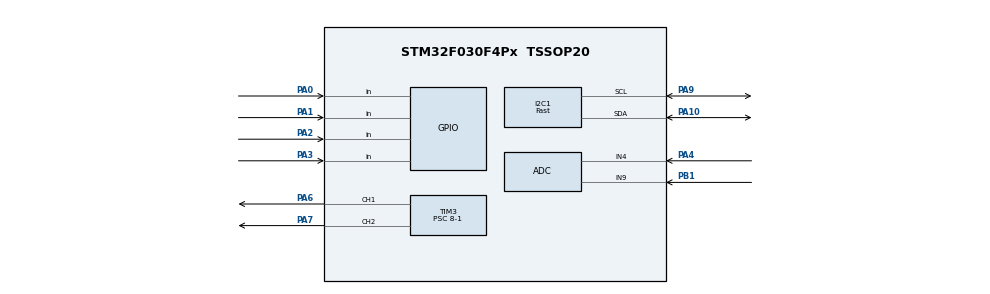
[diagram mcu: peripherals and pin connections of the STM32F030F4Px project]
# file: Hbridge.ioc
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ADC.ContinuousConvMode=ENABLE
ADC.DMAContinuousRequests=ENABLE
ADC.SamplingTime=ADC_SAMPLETIME_239CYCLES_5
Dma.ADC.0.Direction=DMA_PERIPH_TO_MEMORY
Dma.ADC.0.Instance=DMA1_Channel1
Dma.ADC.0.MemDataAlignment=DMA_MDATAALIGN_WORD
Dma.ADC.0.MemInc=DMA_MINC_ENABLE
Dma.ADC.0.Mode=DMA_CIRCULAR
Dma.ADC.0.PeriphDataAlignment=DMA_PDATAALIGN_WORD
Dma.ADC.0.PeriphInc=DMA_PINC_DISABLE
Dma.ADC.0.Priority=DMA_PRIORITY_HIGH
Dma.Request0=ADC
I2C1.I2C_Speed_Mode=I2C_Fast
I2C1.OwnAddress=0x20<<1
I2C1.Timing=0x0000020B
Mcu.Family=STM32F0
Mcu.Name=STM32F030F4Px
Mcu.Package=TSSOP20
NVIC.ADC1_IRQn=true\:1\:0\:true\:false\:true\:true\:true\:true
NVIC.DMA1_Channel1_IRQn=true\:1\:0\:true\:false\:true\:false\:true\:true
NVIC.I2C1_IRQn=true\:0\:0\:false\:false\:true\:true\:true\:true
PA0.GPIO_PuPd=GPIO_PULLUP
PA0.Signal=GPIO_Input
PA1.GPIO_PuPd=GPIO_PULLUP
PA1.Signal=GPIO_Input
PA10.Mode=I2C
PA10.Signal=I2C1_SDA
PA13.Mode=Serial_Wire
PA13.Signal=SYS_SWDIO
PA14.Mode=Serial_Wire
PA14.Signal=SYS_SWCLK
PA2.GPIO_PuPd=GPIO_PULLUP
PA2.Signal=GPIO_Input
PA3.GPIO_PuPd=GPIO_PULLUP
PA3.Signal=GPIO_Input
PA4.Mode=IN4
PA4.Signal=ADC_IN4
PA6.Signal=S_TIM3_CH1
PA7.Signal=S_TIM3_CH2
PA9.Mode=I2C
PA9.Signal=I2C1_SCL
PB1.Mode=IN9
PB1.Signal=ADC_IN9
ProjectManager.HeapSize=0x200
ProjectManager.StackSize=0x400
ProjectManager.TargetToolchain=MDK-ARM V5
SH.S_TIM3_CH1.0=TIM3_CH1,PWM Generation1 CH1
SH.S_TIM3_CH2.0=TIM3_CH2,PWM Generation2 CH2
TIM3.AutoReloadPreload=TIM_AUTORELOAD_PRELOAD_ENABLE
TIM3.Channel-PWM\ Generation1\ CH1=TIM_CHANNEL_1
TIM3.Channel-PWM\ Generation2\ CH2=TIM_CHANNEL_2
TIM3.Period=1000
TIM3.Prescaler=8-1
board=custom

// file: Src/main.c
/* USER CODE BEGIN Header */
/**
  ******************************************************************************
  * @file           : main.c
  * @brief          : Main program body
  ******************************************************************************
  * @attention
  *
  * Copyright (c) 2023 STMicroelectronics.
  * All rights reserved.
  *
  * This software is licensed under terms that can be found in the LICENSE file
  * in the root directory of this software component.
  * If no LICENSE file comes with this software, it is provided AS-IS.
  *
  ******************************************************************************
  */
/* USER CODE END Header */
#include "main.h"

/* USER CODE BEGIN Includes */
#include "i2c_ex.h"
/* USER CODE END Includes */

/* USER CODE BEGIN PD */
#define ADC_CHANNEL_NUMS                2
#define ADC_SAMPLES_NUMS                ADC_CHANNEL_NUMS * 20

#define I2C1_ADDR_BASE 0x20
#define FIRMWARE_VERSION 2

enum {DIR_STOP = 0, DIR_FORWARD, DIR_REWERSE};
enum {SPEED_TYPE_8BIT = 0, SPEED_TYPE_16BIT};
/* USER CODE END PD */

ADC_HandleTypeDef hadc;
DMA_HandleTypeDef hdma_adc;

TIM_HandleTypeDef htim3;

/* USER CODE BEGIN PV */
volatile uint8_t direction = DIR_STOP;
volatile uint8_t speed_type_flag = SPEED_TYPE_8BIT;
volatile uint8_t speed_8bits = 0;
volatile uint16_t speed_16bits = 0;
volatile uint16_t pwm_freq = 1000;

volatile uint8_t g_i2c_addr = 0;
volatile uint8_t g_i2c_addr_last = 0;
volatile uint8_t g_i2c_addr_filter = 0;

float i_in_value = 0.0;

__IO uint32_t uiAdcValueBuf[ADC_SAMPLES_NUMS];
__IO uint16_t usAdcValue16[ADC_CHANNEL_NUMS];
__IO uint8_t usAdcValue8[ADC_CHANNEL_NUMS];

volatile uint8_t fm_version = FIRMWARE_VERSION;

#define APPLICATION_ADDRESS     ((uint32_t)0x08001000)
volatile uint8_t flag_jump_bootloader = 0;
volatile uint32_t jump_bootloader_timeout = 0;
/* USER CODE END PV */

void SystemClock_Config(void);
static void MX_GPIO_Init(void);
static void MX_DMA_Init(void);
static void MX_I2C1_Init(void);
static void MX_ADC_Init(void);
static void MX_TIM3_Init(void);

/* USER CODE BEGIN 0 */
void IAP_Set()
{
	uint8_t i;

	uint32_t *pVecTab=(uint32_t *)(0x20000000);
	//????????SRAM???
	for(i = 0; i < 48; i++)
	{
		*(pVecTab++) = *(__IO uint32_t*)(APPLICATION_ADDRESS + (i<<2));
	}
  /* Enable the SYSCFG peripheral clock*/
#if 1 //STM32
  __HAL_RCC_SYSCFG_CLK_ENABLE();
  //??? SRAM ??? 0x00000000
  __HAL_SYSCFG_REMAPMEMORY_SRAM();
#else //AMP32
    RCM_EnableAPB2PeriphClock(RCM_APB2_PERIPH_SYSCFG);
    /* Remap SRAM at 0x00000000 */
    SYSCFG->CFG1_B.MMSEL = SYSCFG_MemoryRemap_SRAM;
#endif
}

void i2c_port_set_to_input(void)
{
  GPIO_InitTypeDef GPIO_InitStruct = {0};

  /* GPIO Ports Clock Enable */
  __HAL_RCC_GPIOA_CLK_ENABLE();

  /*Configure GPIO pin Output Level */
  HAL_GPIO_WritePin(GPIOA, GPIO_PIN_9 | GPIO_PIN_10, GPIO_PIN_RESET);

  /*Configure GPIO pin : LED_Pin */
  GPIO_InitStruct.Pin = (GPIO_PIN_9 | GPIO_PIN_10);
  GPIO_InitStruct.Mode = GPIO_MODE_INPUT;
  GPIO_InitStruct.Pull = GPIO_PULLUP;
  GPIO_InitStruct.Speed = GPIO_SPEED_FREQ_LOW;
  HAL_GPIO_Init(GPIOA, &GPIO_InitStruct);
}

long map(long x, long in_min, long in_max, long out_min, long out_max) {
  long result;

  result = (x - in_min) * (out_max - out_min) / (in_max - in_min) + out_min;
  if (result < out_min)
    result = out_min;
  else if (result > out_max)
    result = out_max;

  return result;
}

void set_pwm(uint8_t direction)
{
  uint32_t period;

  period = 1000000 / pwm_freq;
  if (!pwm_freq)
    __HAL_TIM_SET_AUTORELOAD(&htim3, 1000000 / 100);
  else
    __HAL_TIM_SET_AUTORELOAD(&htim3, period);
  switch (direction)
  {
  case DIR_STOP:
    __HAL_TIM_SET_COMPARE(&htim3, TIM_CHANNEL_1, 0);
    __HAL_TIM_SET_COMPARE(&htim3, TIM_CHANNEL_2, 0);
    break;
  case DIR_FORWARD:
    if (speed_type_flag == SPEED_TYPE_8BIT) {
      __HAL_TIM_SET_COMPARE(&htim3, TIM_CHANNEL_1, (uint32_t)((float)speed_8bits/255.0f*period));
    } else {
      __HAL_TIM_SET_COMPARE(&htim3, TIM_CHANNEL_1, (uint32_t)((float)speed_16bits/65535.0f*period));
    }
    __HAL_TIM_SET_COMPARE(&htim3, TIM_CHANNEL_2, 0);
    break;
  case DIR_REWERSE:
    __HAL_TIM_SET_COMPARE(&htim3, TIM_CHANNEL_1, 0);
    if (speed_type_flag == SPEED_TYPE_8BIT) {
      __HAL_TIM_SET_COMPARE(&htim3, TIM_CHANNEL_2, (uint32_t)((float)speed_8bits/255.0f*period));
    } else {
      __HAL_TIM_SET_COMPARE(&htim3, TIM_CHANNEL_2, (uint32_t)((float)speed_16bits/65535.0f*period));
    }
    break;

  default:
    break;
  }
}

void HAL_ADC_ConvCpltCallback(ADC_HandleTypeDef* hadc) {
  uint64_t adcTotal[ADC_CHANNEL_NUMS]={0};
  float vout = 0.0;

	HAL_ADC_Stop_DMA(hadc);
	for (uint8_t i = 0; i < ADC_SAMPLES_NUMS; i++) {
    adcTotal[i%ADC_CHANNEL_NUMS] += uiAdcValueBuf[i];
  }
	for (uint8_t i = 0; i < ADC_CHANNEL_NUMS; i++) {
    usAdcValue16[i] = (adcTotal[i] / 20);
  }

	usAdcValue8[0] = map(usAdcValue16[0],0,4095,0,255);

  vout = usAdcValue16[1] * 3.3 / 4095;

  i_in_value = (vout - 1.24) / 0.5;

	HAL_ADC_Start_DMA(hadc, (uint32_t *)uiAdcValueBuf, ADC_SAMPLES_NUMS);
}

void user_i2c1_init(void)
{

  /* USER CODE BEGIN I2C1_Init 0 */

  /* USER CODE END I2C1_Init 0 */

  LL_I2C_InitTypeDef I2C_InitStruct = {0};

  LL_GPIO_InitTypeDef GPIO_InitStruct = {0};

  LL_AHB1_GRP1_EnableClock(LL_AHB1_GRP1_PERIPH_GPIOA);
  /**I2C1 GPIO Configuration
  PA9   ------> I2C1_SCL
  PA10   ------> I2C1_SDA
  */
  GPIO_InitStruct.Pin = LL_GPIO_PIN_9;
  GPIO_InitStruct.Mode = LL_GPIO_MODE_ALTERNATE;
  GPIO_InitStruct.Speed = LL_GPIO_SPEED_FREQ_HIGH;
  GPIO_InitStruct.OutputType = LL_GPIO_OUTPUT_OPENDRAIN;
  GPIO_InitStruct.Pull = LL_GPIO_PULL_NO;
  GPIO_InitStruct.Alternate = LL_GPIO_AF_4;
  LL_GPIO_Init(GPIOA, &GPIO_InitStruct);

  GPIO_InitStruct.Pin = LL_GPIO_PIN_10;
  GPIO_InitStruct.Mode = LL_GPIO_MODE_ALTERNATE;
  GPIO_InitStruct.Speed = LL_GPIO_SPEED_FREQ_HIGH;
  GPIO_InitStruct.OutputType = LL_GPIO_OUTPUT_OPENDRAIN;
  GPIO_InitStruct.Pull = LL_GPIO_PULL_NO;
  GPIO_InitStruct.Alternate = LL_GPIO_AF_4;
  LL_GPIO_Init(GPIOA, &GPIO_InitStruct);

  /* Peripheral clock enable */
  LL_APB1_GRP1_EnableClock(LL_APB1_GRP1_PERIPH_I2C1);

  /* I2C1 interrupt Init */
  NVIC_SetPriority(I2C1_IRQn, 0);
  NVIC_EnableIRQ(I2C1_IRQn);

  /* USER CODE BEGIN I2C1_Init 1 */

  /* USER CODE END I2C1_Init 1 */

  /** I2C Initialization
  */
  LL_I2C_DisableOwnAddress2(I2C1);
  LL_I2C_DisableGeneralCall(I2C1);
  LL_I2C_EnableClockStretching(I2C1);
  I2C_InitStruct.PeripheralMode = LL_I2C_MODE_I2C;
  I2C_InitStruct.Timing = 0x0000020B;
  I2C_InitStruct.AnalogFilter = LL_I2C_ANALOGFILTER_ENABLE;
  I2C_InitStruct.DigitalFilter = 0;
  I2C_InitStruct.OwnAddress1 = (I2C1_ADDR_BASE+g_i2c_addr)<<1;
  I2C_InitStruct.TypeAcknowledge = LL_I2C_ACK;
  I2C_InitStruct.OwnAddrSize = LL_I2C_OWNADDRESS1_7BIT;
  LL_I2C_Init(I2C1, &I2C_InitStruct);
  LL_I2C_EnableAutoEndMode(I2C1);
  LL_I2C_SetOwnAddress2(I2C1, 0, LL_I2C_OWNADDRESS2_NOMASK);
  /* USER CODE BEGIN I2C1_Init 2 */
  set_i2c_slave_address(I2C1_ADDR_BASE+g_i2c_addr);
  /* USER CODE END I2C1_Init 2 */

}

uint8_t read_i2c1_addr(void)
{
  uint8_t i2c1_addr = 0;

  for (int i = 0; i < 4; i++) {
    i2c1_addr |= (!(HAL_GPIO_ReadPin(GPIOA, 1 << i))) << i;
  }

  return i2c1_addr;
}

void i2c1_addr_init(void)
{
  uint8_t i2c1_addr = 0;

  for (int i = 0; i < 10; i++) {
    i2c1_addr = read_i2c1_addr();
    if (i2c1_addr != g_i2c_addr_last) {
      g_i2c_addr_last = i2c1_addr;
      g_i2c_addr_filter = 0;

    } else {
      g_i2c_addr_filter++;
      if (g_i2c_addr_filter >= 3) {
        g_i2c_addr_filter = 0;
        g_i2c_addr = i2c1_addr;
        user_i2c1_init();
        return;
      }
    }
    HAL_Delay(100);
  }
  MX_I2C1_Init();
}

void Slave_Complete_Callback(uint8_t *rx_data, uint16_t len)
{
  uint8_t rx_buf[16];
  uint8_t tx_buf[16];
  uint8_t rx_mark[16] = {0};

  if (len > 1 && (rx_data[0] <= 0x05))
  {
    if (len <= 7) {
      for (int i = 0; i < len - 1; i++) {
        rx_buf[rx_data[0]+i] = rx_data[1+i];
        rx_mark[rx_data[0]+i] = 1;
      }
      if (rx_mark[0]) {
        direction = rx_buf[0];
      }
      if (rx_mark[1]) {
        speed_type_flag = SPEED_TYPE_8BIT;
        speed_8bits = rx_buf[1];
      }
      if (rx_mark[2] && rx_mark[3]) {
        speed_type_flag = SPEED_TYPE_16BIT;
        speed_16bits = (rx_buf[2] | (rx_buf[3] << 8));
      }
      if (rx_mark[4] && rx_mark[5]) {
        pwm_freq = (rx_buf[4] | (rx_buf[5] << 8));
        if (pwm_freq < 100)
          pwm_freq = 100;
      }
			set_pwm(direction);

    }
  }
  else if (len == 1 && (rx_data[0] <= 0x05))
  {
    if (rx_data[0] == 0x00) {
      i2c1_set_send_data((uint8_t *)&direction, 1);
    } else if (rx_data[0] == 0x01) {
      i2c1_set_send_data((uint8_t *)&speed_8bits, 1);
    } else if ((rx_data[0] == 0x02) || (rx_data[0] == 0x03)) {
      i2c1_set_send_data((uint8_t *)&speed_16bits, 2);
    } else if ((rx_data[0] == 0x04) || (rx_data[0] == 0x05)) {
      i2c1_set_send_data((uint8_t *)&pwm_freq, 2);
    }
  }
  else if (len == 1 && (rx_data[0] == 0x10))
  {
    i2c1_set_send_data(usAdcValue8, 1);
  }
  else if (len == 1 && ((rx_data[0] == 0x20) || (rx_data[0] == 0x21)))
  {
    i2c1_set_send_data((uint8_t *)&usAdcValue16[0], 2);
  }
  else if (len == 1 && (rx_data[0] == 0xFE))
  {
    i2c1_set_send_data((uint8_t *)&fm_version, 1);
  }
  else if (len == 1 && (rx_data[0] == 0xFF))
  {
    tx_buf[0] = I2C1_ADDR_BASE + g_i2c_addr;
    i2c1_set_send_data((uint8_t *)&tx_buf[0], 1);
  }
	else if (len == 1 && (rx_data[0] >= 0x30 & rx_data[0] <= 0x33))
	{
    i2c1_set_send_data((uint8_t *)&i_in_value, 4);
  }
  else if (len > 1 && (rx_data[0] == 0xFD))
  {
    if (rx_data[1] == 1) {
      flag_jump_bootloader = 1;
      if (flag_jump_bootloader) {
        LL_I2C_DeInit(I2C1);
        LL_I2C_DisableAutoEndMode(I2C1);
        LL_I2C_Disable(I2C1);
        LL_I2C_DisableIT_ADDR(I2C1);
        HAL_TIM_PWM_DeInit(&htim3);
        HAL_ADC_DeInit(&hadc);
        __HAL_RCC_DMA1_CLK_DISABLE();
        HAL_NVIC_DisableIRQ(DMA1_Channel1_IRQn);
        HAL_TIM_PWM_Stop(&htim3, TIM_CHANNEL_1);
        HAL_TIM_PWM_Stop(&htim3, TIM_CHANNEL_2);
        HAL_ADC_Stop_DMA(&hadc);
        i2c_port_set_to_input();
        while (HAL_GPIO_ReadPin(GPIOA, GPIO_PIN_9) || HAL_GPIO_ReadPin(GPIOA, GPIO_PIN_10))
        {
          jump_bootloader_timeout++;
          if (jump_bootloader_timeout >= 60000) {
            flag_jump_bootloader = 0;
            break;
          }
        }
        if (jump_bootloader_timeout < 60000) {
          NVIC_SystemReset();
        } else {
          // NVIC_SystemReset();
          user_i2c1_init();
          i2c1_it_enable();
          MX_DMA_Init();
          MX_ADC_Init();
          MX_TIM3_Init();
          HAL_TIM_PWM_Start(&htim3, TIM_CHANNEL_1);
          HAL_TIM_PWM_Start(&htim3, TIM_CHANNEL_2);
          HAL_ADC_Start_DMA(&hadc, (uint32_t *)uiAdcValueBuf, ADC_SAMPLES_NUMS);
          jump_bootloader_timeout = 0;
        }
      }
    }
  }
}
/* USER CODE END 0 */

int main(void)
{
  /* USER CODE BEGIN 1 */
  IAP_Set();
  /* USER CODE END 1 */

  /* MCU Configuration--------------------------------------------------------*/

  /* Reset of all peripherals, Initializes the Flash interface and the Systick. */
  HAL_Init();

  /* Configure the system clock */
  SystemClock_Config();

  /* Initialize all configured peripherals */
  MX_GPIO_Init();
  MX_DMA_Init();
  // MX_I2C1_Init();
  MX_ADC_Init();
  MX_TIM3_Init();
  /* USER CODE BEGIN 2 */
  i2c1_addr_init();
  HAL_ADCEx_Calibration_Start(&hadc);
  HAL_ADC_Start_DMA(&hadc, (uint32_t *)uiAdcValueBuf, ADC_SAMPLES_NUMS);
  HAL_TIM_PWM_Start(&htim3, TIM_CHANNEL_1);
  HAL_TIM_PWM_Start(&htim3, TIM_CHANNEL_2);
  i2c1_it_enable();
  /* USER CODE END 2 */

  /* Infinite loop */
  while (1)
  {

  }
}

void SystemClock_Config(void)
{
  LL_FLASH_SetLatency(LL_FLASH_LATENCY_0);
  while(LL_FLASH_GetLatency() != LL_FLASH_LATENCY_0)
  {
  }
  LL_RCC_HSI_Enable();

   /* Wait till HSI is ready */
  while(LL_RCC_HSI_IsReady() != 1)
  {

  }
  LL_RCC_HSI_SetCalibTrimming(16);
  LL_RCC_HSI14_Enable();

   /* Wait till HSI14 is ready */
  while(LL_RCC_HSI14_IsReady() != 1)
  {

  }
  LL_RCC_HSI14_SetCalibTrimming(16);
  LL_RCC_SetAHBPrescaler(LL_RCC_SYSCLK_DIV_1);
  LL_RCC_SetAPB1Prescaler(LL_RCC_APB1_DIV_1);
  LL_RCC_SetSysClkSource(LL_RCC_SYS_CLKSOURCE_HSI);

   /* Wait till System clock is ready */
  while(LL_RCC_GetSysClkSource() != LL_RCC_SYS_CLKSOURCE_STATUS_HSI)
  {

  }
  LL_SetSystemCoreClock(8000000);

   /* Update the time base */
  if (HAL_InitTick (TICK_INT_PRIORITY) != HAL_OK)
  {
    Error_Handler();
  }
  LL_RCC_HSI14_EnableADCControl();
  LL_RCC_SetI2CClockSource(LL_RCC_I2C1_CLKSOURCE_HSI);
}

static void MX_ADC_Init(void)
{

  ADC_ChannelConfTypeDef sConfig = {0};

  /** Configure the global features of the ADC (Clock, Resolution, Data Alignment and number of conversion)
  */
  hadc.Instance = ADC1;
  hadc.Init.ClockPrescaler = ADC_CLOCK_ASYNC_DIV1;
  hadc.Init.Resolution = ADC_RESOLUTION_12B;
  hadc.Init.DataAlign = ADC_DATAALIGN_RIGHT;
  hadc.Init.ScanConvMode = ADC_SCAN_DIRECTION_FORWARD;
  hadc.Init.EOCSelection = ADC_EOC_SINGLE_CONV;
  hadc.Init.LowPowerAutoWait = DISABLE;
  hadc.Init.LowPowerAutoPowerOff = DISABLE;
  hadc.Init.ContinuousConvMode = ENABLE;
  hadc.Init.DiscontinuousConvMode = DISABLE;
  hadc.Init.ExternalTrigConv = ADC_SOFTWARE_START;
  hadc.Init.ExternalTrigConvEdge = ADC_EXTERNALTRIGCONVEDGE_NONE;
  hadc.Init.DMAContinuousRequests = ENABLE;
  hadc.Init.Overrun = ADC_OVR_DATA_PRESERVED;
  if (HAL_ADC_Init(&hadc) != HAL_OK)
  {
    Error_Handler();
  }

  /** Configure for the selected ADC regular channel to be converted.
  */
  sConfig.Channel = ADC_CHANNEL_4;
  sConfig.Rank = ADC_RANK_CHANNEL_NUMBER;
  sConfig.SamplingTime = ADC_SAMPLETIME_239CYCLES_5;
  if (HAL_ADC_ConfigChannel(&hadc, &sConfig) != HAL_OK)
  {
    Error_Handler();
  }

  /** Configure for the selected ADC regular channel to be converted.
  */
  sConfig.Channel = ADC_CHANNEL_9;
  if (HAL_ADC_ConfigChannel(&hadc, &sConfig) != HAL_OK)
  {
    Error_Handler();
  }

}

static void MX_I2C1_Init(void)
{

  LL_I2C_InitTypeDef I2C_InitStruct = {0};

  LL_GPIO_InitTypeDef GPIO_InitStruct = {0};

  LL_AHB1_GRP1_EnableClock(LL_AHB1_GRP1_PERIPH_GPIOA);
  /**I2C1 GPIO Configuration
  PA9   ------> I2C1_SCL
  PA10   ------> I2C1_SDA
  */
  GPIO_InitStruct.Pin = LL_GPIO_PIN_9;
  GPIO_InitStruct.Mode = LL_GPIO_MODE_ALTERNATE;
  GPIO_InitStruct.Speed = LL_GPIO_SPEED_FREQ_HIGH;
  GPIO_InitStruct.OutputType = LL_GPIO_OUTPUT_OPENDRAIN;
  GPIO_InitStruct.Pull = LL_GPIO_PULL_NO;
  GPIO_InitStruct.Alternate = LL_GPIO_AF_4;
  LL_GPIO_Init(GPIOA, &GPIO_InitStruct);

  GPIO_InitStruct.Pin = LL_GPIO_PIN_10;
  GPIO_InitStruct.Mode = LL_GPIO_MODE_ALTERNATE;
  GPIO_InitStruct.Speed = LL_GPIO_SPEED_FREQ_HIGH;
  GPIO_InitStruct.OutputType = LL_GPIO_OUTPUT_OPENDRAIN;
  GPIO_InitStruct.Pull = LL_GPIO_PULL_NO;
  GPIO_InitStruct.Alternate = LL_GPIO_AF_4;
  LL_GPIO_Init(GPIOA, &GPIO_InitStruct);

  /* Peripheral clock enable */
  LL_APB1_GRP1_EnableClock(LL_APB1_GRP1_PERIPH_I2C1);

  /* I2C1 interrupt Init */
  NVIC_SetPriority(I2C1_IRQn, 0);
  NVIC_EnableIRQ(I2C1_IRQn);

  /** I2C Initialization
  */
  LL_I2C_DisableOwnAddress2(I2C1);
  LL_I2C_DisableGeneralCall(I2C1);
  LL_I2C_EnableClockStretching(I2C1);
  I2C_InitStruct.PeripheralMode = LL_I2C_MODE_I2C;
  I2C_InitStruct.Timing = 0x0000020B;
  I2C_InitStruct.AnalogFilter = LL_I2C_ANALOGFILTER_ENABLE;
  I2C_InitStruct.DigitalFilter = 0;
  I2C_InitStruct.OwnAddress1 = 0x20<<1;
  I2C_InitStruct.TypeAcknowledge = LL_I2C_ACK;
  I2C_InitStruct.OwnAddrSize = LL_I2C_OWNADDRESS1_7BIT;
  LL_I2C_Init(I2C1, &I2C_InitStruct);
  LL_I2C_EnableAutoEndMode(I2C1);
  LL_I2C_SetOwnAddress2(I2C1, 0, LL_I2C_OWNADDRESS2_NOMASK);
  /* USER CODE BEGIN I2C1_Init 2 */
  set_i2c_slave_address(0x20);
  /* USER CODE END I2C1_Init 2 */

}

static void MX_TIM3_Init(void)
{

  TIM_MasterConfigTypeDef sMasterConfig = {0};
  TIM_OC_InitTypeDef sConfigOC = {0};

  htim3.Instance = TIM3;
  htim3.Init.Prescaler = 8-1;
  htim3.Init.CounterMode = TIM_COUNTERMODE_UP;
  htim3.Init.Period = 1000;
  htim3.Init.ClockDivision = TIM_CLOCKDIVISION_DIV1;
  htim3.Init.AutoReloadPreload = TIM_AUTORELOAD_PRELOAD_ENABLE;
  if (HAL_TIM_PWM_Init(&htim3) != HAL_OK)
  {
    Error_Handler();
  }
  sMasterConfig.MasterOutputTrigger = TIM_TRGO_RESET;
  sMasterConfig.MasterSlaveMode = TIM_MASTERSLAVEMODE_DISABLE;
  if (HAL_TIMEx_MasterConfigSynchronization(&htim3, &sMasterConfig) != HAL_OK)
  {
    Error_Handler();
  }
  sConfigOC.OCMode = TIM_OCMODE_PWM1;
  sConfigOC.Pulse = 0;
  sConfigOC.OCPolarity = TIM_OCPOLARITY_HIGH;
  sConfigOC.OCFastMode = TIM_OCFAST_DISABLE;
  if (HAL_TIM_PWM_ConfigChannel(&htim3, &sConfigOC, TIM_CHANNEL_1) != HAL_OK)
  {
    Error_Handler();
  }
  if (HAL_TIM_PWM_ConfigChannel(&htim3, &sConfigOC, TIM_CHANNEL_2) != HAL_OK)
  {
    Error_Handler();
  }
  HAL_TIM_MspPostInit(&htim3);

}

static void MX_DMA_Init(void)
{

  /* DMA controller clock enable */
  __HAL_RCC_DMA1_CLK_ENABLE();

  /* DMA interrupt init */
  /* DMA1_Channel1_IRQn interrupt configuration */
  HAL_NVIC_SetPriority(DMA1_Channel1_IRQn, 1, 0);
  HAL_NVIC_EnableIRQ(DMA1_Channel1_IRQn);

}

static void MX_GPIO_Init(void)
{
  GPIO_InitTypeDef GPIO_InitStruct = {0};

  /* GPIO Ports Clock Enable */
  __HAL_RCC_GPIOA_CLK_ENABLE();
  __HAL_RCC_GPIOB_CLK_ENABLE();

  /*Configure GPIO pins : PA0 PA1 PA2 PA3 */
  GPIO_InitStruct.Pin = GPIO_PIN_0|GPIO_PIN_1|GPIO_PIN_2|GPIO_PIN_3;
  GPIO_InitStruct.Mode = GPIO_MODE_INPUT;
  GPIO_InitStruct.Pull = GPIO_PULLUP;
  HAL_GPIO_Init(GPIOA, &GPIO_InitStruct);

}

void Error_Handler(void)
{
  __disable_irq();
  while (1)
  {
  }
}
